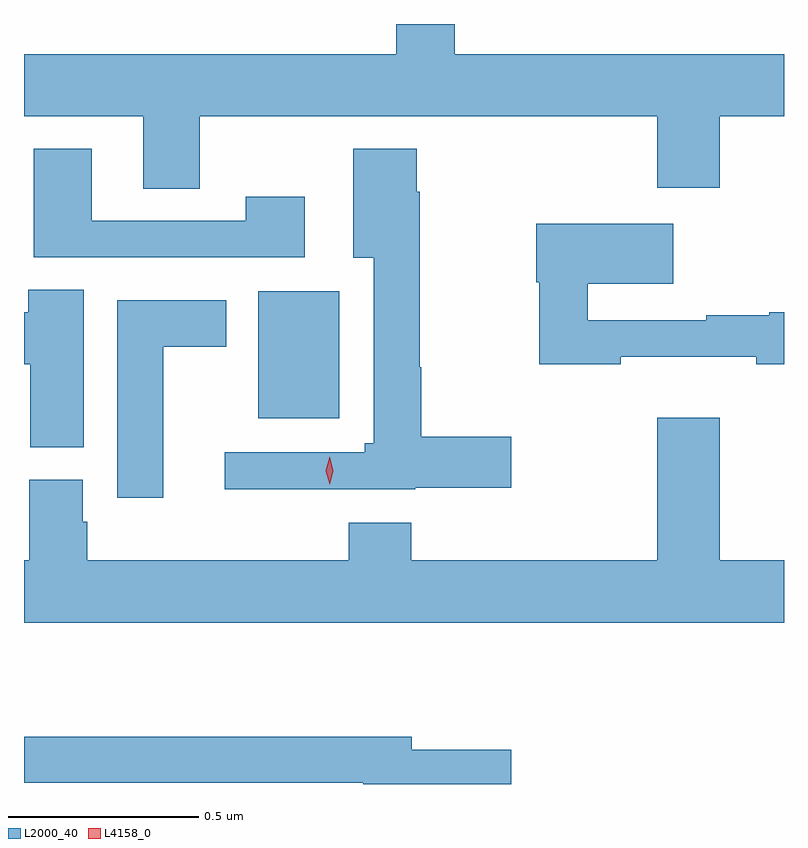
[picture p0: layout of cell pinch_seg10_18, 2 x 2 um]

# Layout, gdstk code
import gdstk
lib = gdstk.Library(unit=1e-6, precision=1e-09)
def R(c, l, rs):  # rectangles x0, y0, x1, y1
    for r in rs: c.add(gdstk.rectangle(r[:2], r[2:], *l))
def P(c, l, *ps):  # polygons
    for p in ps: c.add(gdstk.Polygon(p, *l))
L2000_40 = (2000, 40)
L4158_0 = (4158, 0)

pinch_seg10_18 = lib.new_cell('pinch_seg10_18')
R(pinch_seg10_18, L2000_40, [(955.166,1268.885,955.378,1269.22)])
P(pinch_seg10_18, L2000_40, [(955.011,1269.68),(956.216,1269.68),(956.216,1269.492),(956.38,1269.492),(956.38,1269.68),(956.549,1269.68),(956.549,1269.844),(955.682,1269.844),(955.682,1269.923),(955.529,1269.923),(955.529,1269.844),(954.549,1269.844),(954.549,1269.68),(954.863,1269.68),(954.863,1269.49),(955.011,1269.49)],
  [(955.578,1268.702),(955.831,1268.702),(955.831,1268.837),(955.595,1268.837),(955.595,1269.02),(955.59,1269.02),(955.59,1269.482),(955.582,1269.482),(955.582,1269.595),(955.415,1269.595),(955.415,1269.308),(955.469,1269.308),(955.469,1268.82),(955.446,1268.82),(955.446,1268.796),(955.077,1268.796),(955.077,1268.699),(955.578,1268.699)],
  [(955.288,1269.469),(955.132,1269.469),(955.132,1269.405),(954.727,1269.405),(954.727,1269.595),(954.575,1269.595),(954.575,1269.309),(955.288,1269.309)],
  [(956.12,1269.047),(956.476,1269.047),(956.476,1269.028),(956.549,1269.028),(956.549,1269.164),(956.51,1269.164),(956.51,1269.157),(956.344,1269.157),(956.344,1269.144),(956.033,1269.144),(956.033,1269.239),(956.257,1269.239),(956.257,1269.397),(955.897,1269.397),(955.897,1269.243),(955.905,1269.243),(955.905,1269.028),(956.12,1269.028)],
  [(954.706,1269.224),(954.56,1269.224),(954.56,1269.164),(954.549,1269.164),(954.549,1269.028),(954.565,1269.028),(954.565,1268.809),(954.706,1268.809)],
  [(954.916,1269.074),(955.081,1269.074),(955.081,1269.196),(954.794,1269.196),(954.794,1268.676),(954.916,1268.676)],
  [(956.549,1268.512),(956.38,1268.512),(956.38,1268.887),(956.216,1268.887),(956.216,1268.512),(955.568,1268.512),(955.568,1268.611),(955.403,1268.611),(955.403,1268.512),(954.716,1268.512),(954.716,1268.613),(954.703,1268.613),(954.703,1268.724),(954.563,1268.724),(954.563,1268.512),(954.549,1268.512),(954.549,1268.348),(956.549,1268.348)],
  [(955.831,1268.013),(955.57,1268.013),(955.57,1268.047),(954.549,1268.047),(954.549,1267.926),(955.442,1267.926),(955.442,1267.923),(955.831,1267.923)])
P(pinch_seg10_18, L4158_0, [(955.353,1268.712),(955.353,1268.712),(955.343,1268.748),(955.353,1268.784),(955.353,1268.784),(955.353,1268.784),(955.363,1268.748),(955.353,1268.712)])

lib.write_gds('pinch_seg10_18.gds')
